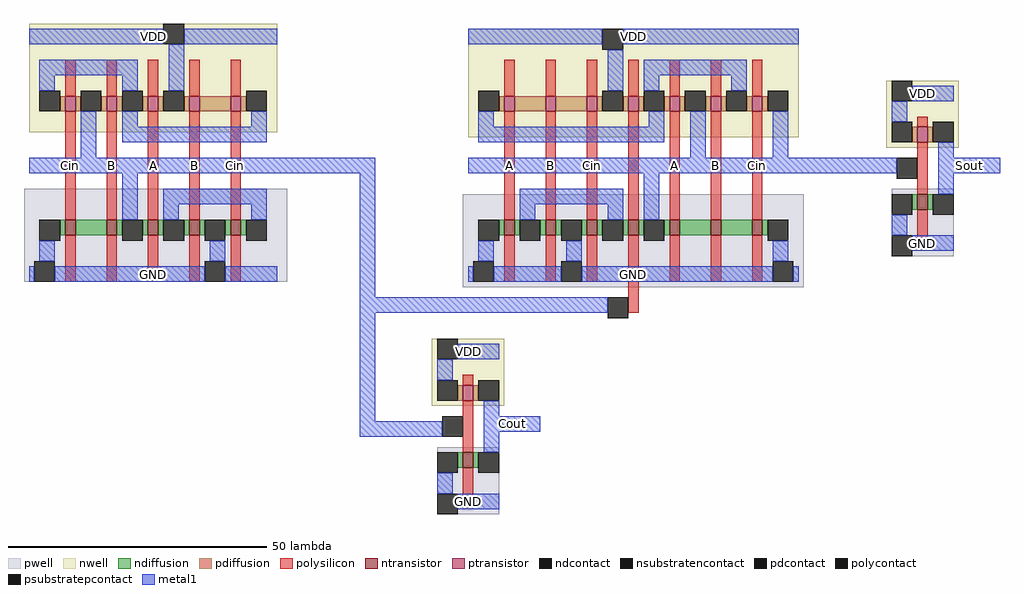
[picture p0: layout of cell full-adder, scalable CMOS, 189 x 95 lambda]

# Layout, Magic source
magic
tech scmos
<< pwell >>
rect -14 -22 37 -4
rect 71 -23 137 -5
rect 154 -17 166 -4
rect 66 -67 78 -54
<< nwell >>
rect -13 7 35 28
rect 72 6 136 27
rect 153 4 167 17
rect 65 -46 79 -33
<< polysilicon >>
rect -6 14 -4 21
rect 2 14 4 21
rect 10 14 12 21
rect 18 14 20 21
rect 26 14 28 21
rect 79 14 81 21
rect 87 14 89 21
rect 95 14 97 21
rect 103 14 105 21
rect 111 14 113 21
rect 119 14 121 21
rect 127 14 129 21
rect -6 -10 -4 11
rect 2 -10 4 11
rect 10 -10 12 11
rect 18 -10 20 11
rect 26 -10 28 11
rect 79 -10 81 11
rect 87 -10 89 11
rect 95 -10 97 11
rect 103 -10 105 11
rect 111 -10 113 11
rect 119 -10 121 11
rect 127 -10 129 11
rect 159 8 161 10
rect 159 -5 161 5
rect -6 -22 -4 -13
rect 2 -22 4 -13
rect 10 -22 12 -13
rect 18 -22 20 -13
rect 26 -22 28 -13
rect 79 -22 81 -13
rect 87 -22 89 -13
rect 95 -22 97 -13
rect 103 -28 105 -13
rect 111 -22 113 -13
rect 119 -22 121 -13
rect 127 -22 129 -13
rect 159 -16 161 -8
rect 71 -42 73 -40
rect 71 -55 73 -45
rect 71 -66 73 -58
<< ndiffusion >>
rect 158 -8 159 -5
rect 161 -8 162 -5
rect -7 -13 -6 -10
rect -4 -13 2 -10
rect 4 -13 5 -10
rect 9 -13 10 -10
rect 12 -13 13 -10
rect 17 -13 18 -10
rect 20 -13 21 -10
rect 25 -13 26 -10
rect 28 -13 29 -10
rect 78 -13 79 -10
rect 81 -13 82 -10
rect 86 -13 87 -10
rect 89 -13 90 -10
rect 94 -13 95 -10
rect 97 -13 98 -10
rect 102 -13 103 -10
rect 105 -13 106 -10
rect 110 -13 111 -10
rect 113 -13 119 -10
rect 121 -13 127 -10
rect 129 -13 130 -10
rect 70 -58 71 -55
rect 73 -58 74 -55
<< pdiffusion >>
rect -7 11 -6 14
rect -4 11 -3 14
rect 1 11 2 14
rect 4 11 5 14
rect 9 11 10 14
rect 12 11 13 14
rect 17 11 18 14
rect 20 11 26 14
rect 28 11 29 14
rect 78 11 79 14
rect 81 11 87 14
rect 89 11 95 14
rect 97 11 98 14
rect 102 11 103 14
rect 105 11 106 14
rect 110 11 111 14
rect 113 11 114 14
rect 118 11 119 14
rect 121 11 122 14
rect 126 11 127 14
rect 129 11 130 14
rect 158 5 159 8
rect 161 5 162 8
rect 70 -45 71 -42
rect 73 -45 74 -42
<< metal1 >>
rect -13 24 13 27
rect 17 24 35 27
rect 72 24 98 27
rect -11 18 8 21
rect -11 15 -8 18
rect 5 15 8 18
rect 14 15 17 24
rect 102 24 136 27
rect 99 15 102 23
rect -3 2 0 11
rect 5 8 8 11
rect 30 8 33 11
rect 5 5 33 8
rect 106 18 126 21
rect 106 15 109 18
rect 123 15 126 18
rect 74 8 77 11
rect 107 8 110 11
rect 74 5 110 8
rect 115 2 118 11
rect 131 2 134 11
rect 158 13 166 16
rect 154 9 157 13
rect 163 2 166 5
rect -13 -1 54 2
rect 72 -1 155 2
rect 5 -10 8 -1
rect 13 -7 33 -4
rect 13 -10 16 -7
rect 30 -10 33 -7
rect -11 -18 -8 -14
rect 22 -18 25 -14
rect -13 -22 -12 -19
rect -8 -22 21 -19
rect 25 -22 35 -19
rect 51 -25 54 -1
rect 82 -7 102 -4
rect 82 -10 85 -7
rect 99 -10 102 -7
rect 106 -10 109 -1
rect 163 -1 175 2
rect 163 -5 166 -1
rect 74 -18 77 -14
rect 91 -18 94 -14
rect 72 -22 73 -19
rect 77 -22 90 -19
rect 131 -18 134 -14
rect 154 -13 157 -9
rect 158 -16 166 -13
rect 94 -22 131 -19
rect 135 -22 136 -19
rect 51 -28 99 -25
rect 51 -49 54 -28
rect 70 -37 78 -34
rect 66 -41 69 -37
rect 75 -48 78 -45
rect 51 -52 67 -49
rect 75 -51 86 -48
rect 75 -55 78 -51
rect 66 -63 69 -59
rect 70 -66 78 -63
<< ntransistor >>
rect 159 -8 161 -5
rect -6 -13 -4 -10
rect 2 -13 4 -10
rect 10 -13 12 -10
rect 18 -13 20 -10
rect 26 -13 28 -10
rect 79 -13 81 -10
rect 87 -13 89 -10
rect 95 -13 97 -10
rect 103 -13 105 -10
rect 111 -13 113 -10
rect 119 -13 121 -10
rect 127 -13 129 -10
rect 71 -58 73 -55
<< ptransistor >>
rect -6 11 -4 14
rect 2 11 4 14
rect 10 11 12 14
rect 18 11 20 14
rect 26 11 28 14
rect 79 11 81 14
rect 87 11 89 14
rect 95 11 97 14
rect 103 11 105 14
rect 111 11 113 14
rect 119 11 121 14
rect 127 11 129 14
rect 159 5 161 8
rect 71 -45 73 -42
<< polycontact >>
rect 155 -2 159 2
rect 99 -29 103 -25
rect 67 -52 71 -48
<< ndcontact >>
rect 154 -9 158 -5
rect -11 -14 -7 -10
rect 5 -14 9 -10
rect 13 -14 17 -10
rect 21 -14 25 -10
rect 29 -14 33 -10
rect 74 -14 78 -10
rect 82 -14 86 -10
rect 90 -14 94 -10
rect 98 -14 102 -10
rect 106 -14 110 -10
rect 130 -14 134 -10
rect 162 -9 166 -5
rect 66 -59 70 -55
rect 74 -59 78 -55
<< pdcontact >>
rect -11 11 -7 15
rect -3 11 1 15
rect 5 11 9 15
rect 13 11 17 15
rect 29 11 33 15
rect 74 11 78 15
rect 98 11 102 15
rect 106 11 110 15
rect 114 11 118 15
rect 122 11 126 15
rect 130 11 134 15
rect 154 5 158 9
rect 162 5 166 9
rect 66 -45 70 -41
rect 74 -45 78 -41
<< psubstratepcontact >>
rect -12 -22 -8 -18
rect 21 -22 25 -18
rect 73 -22 77 -18
rect 90 -22 94 -18
rect 154 -17 158 -13
rect 131 -22 135 -18
rect 66 -67 70 -63
<< nsubstratencontact >>
rect 13 24 17 28
rect 98 23 102 27
rect 154 13 158 17
rect 66 -37 70 -33
<< labels >>
rlabel metal1 -13 24 35 27 1 VDD
rlabel metal1 -13 -22 35 -19 5 GND
rlabel polysilicon -6 -10 -4 11 0 Cin
rlabel polysilicon 2 -10 4 11 0 B
rlabel polysilicon 10 -10 12 11 0 A
rlabel polysilicon 18 -10 20 11 0 B
rlabel polysilicon 26 -10 28 11 0 Cin
rlabel metal1 -13 -1 35 2 3 Cout'
rlabel metal1 72 24 136 27 1 VDD
rlabel metal1 72 -22 136 -19 5 GND
rlabel polysilicon 79 -10 81 11 0 A
rlabel polysilicon 87 -10 89 11 0 B
rlabel polysilicon 95 -10 97 11 0 Cin
rlabel polysilicon 111 -10 113 11 0 A
rlabel polysilicon 119 -10 121 11 0 B
rlabel polysilicon 127 -10 129 11 0 Cin
rlabel metal1 75 -51 86 -48 3 Cout
rlabel metal1 66 -37 78 -34 1 VDD
rlabel metal1 66 -66 78 -63 5 GND
rlabel metal1 154 13 166 16 1 VDD
rlabel metal1 154 -16 166 -13 5 GND
rlabel metal1 72 -1 155 2 1 Sout'
rlabel metal1 163 -1 175 2 3 Sout
<< end >>
